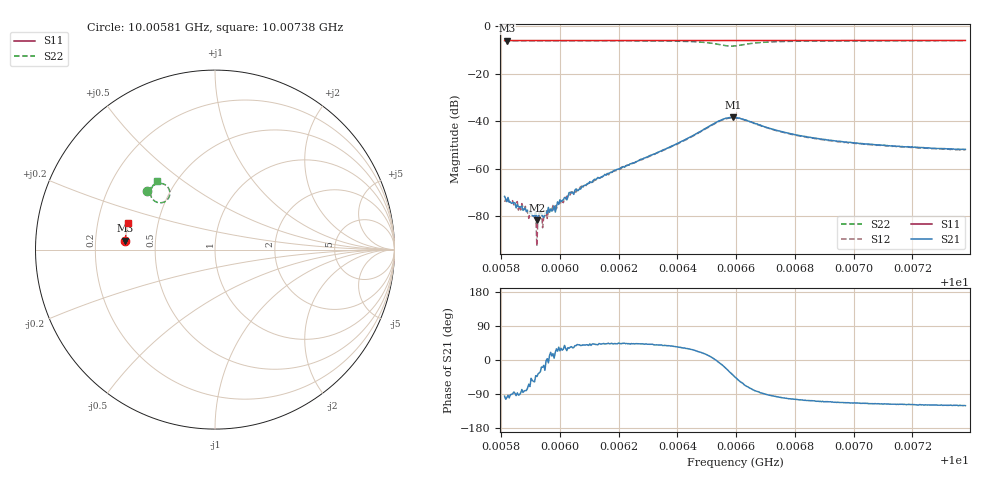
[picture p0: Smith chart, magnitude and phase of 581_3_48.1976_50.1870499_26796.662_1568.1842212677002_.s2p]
#  HZ  S  RI  R  50.00
! Rohde & Schwarz Vector Network Analyzer
! Rohde-Schwarz,ZNB20-2Port,1311601062101988,3.16
! Created: UTC 3/20/2024, 12:02:06 PM
! freq[Hz]  re:S11  im:S11  re:S21  im:S21  re:S12  im:S12  re:S22  im:S22
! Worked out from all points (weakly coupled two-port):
!   401 points, 10.00581 GHz to 10.00738 GHz, reference 50 ohm
!   highest |S21| = -38.30 dB at 10.00659 GHz (marker M1); lowest = -81.8 dB at 10.00592 GHz (marker M2)
!   lowest |S11| = -6.0 dB at 10.00582 GHz (marker M3), VSWR 3.02, Z = 16.6 + j2.19 ohm
!   |S11| at or under -10 dB: nowhere
!   |S22| runs from -8.3 to -6.0 dB; largest |S21 - S12| = 0.0009
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1.0005811e10  -0.4997 0.049  -2.46e-05 -0.000259  -1.91e-05 -0.000199  -0.3772 0.3246
1.0005819e10  -0.4996 0.0493  -3.06e-05 -0.000199  -5.55e-06 -0.000193  -0.3769 0.3251
1.0005847e10  -0.4996 0.0512  7.32e-06 -0.000189  2.71e-05 -0.000177  -0.3755 0.3268
1.0005905e10  -0.4993 0.055  6.18e-05 -8.35e-05  6.6e-05 -9.15e-05  -0.3725 0.3305
1.0005921e10  -0.4991 0.0559  5.9e-05 -5.63e-05  1.97e-05 -1.22e-05  -0.3715 0.3315
1.0005929e10  -0.4992 0.0566  9.57e-05 -6.47e-05  8.81e-05 -4.32e-05  -0.371 0.3321
1.0005949e10  -0.4991 0.0578  9.8e-05 -5.03e-05  9.29e-05 -5.85e-06  -0.3699 0.3333
1.000596e10  -0.499 0.0586  0.000151 -2.06e-05  0.000124 5.21e-06  -0.3693 0.334
1.000598e10  -0.4987 0.0599  0.000162 1.4e-05  0.000166 6.52e-05  -0.3681 0.3353
1.0006e10  -0.4988 0.0611  0.000201 9.07e-05  0.000189 6.69e-05  -0.3671 0.3365
1.0006035e10  -0.4986 0.0635  0.000262 0.000176  0.000227 0.000173  -0.3649 0.3389
1.0006074e10  -0.4982 0.0661  0.000322 0.000257  0.000311 0.000294  -0.3622 0.3415
1.0006121e10  -0.4978 0.0689  0.000445 0.000388  0.000422 0.000386  -0.3589 0.3449
1.0006337e10  -0.496 0.083  0.00175 0.00142  0.00166 0.0015  -0.3352 0.3623
1.0006439e10  -0.495 0.0897  0.00392 0.0022  0.0037 0.00233  -0.3085 0.3691
1.0006541e10  -0.4933 0.0961  0.0101 -0.00107  0.00985 -0.000489  -0.2537 0.3299
1.0006588e10  -0.4927 0.0985  0.00942 -0.00769  0.00951 -0.0069  -0.2728 0.2715
1.0006596e10  -0.4927 0.0987  0.00846 -0.00848  0.0086 -0.00784  -0.2824 0.2656
1.0006682e10  -0.4925 0.104  0.000469 -0.00833  0.000996 -0.00803  -0.3532 0.2898
1.0006859e10  -0.4907 0.1157  -0.00134 -0.0043  -0.00112 -0.00425  -0.3547 0.3394
1.0007122e10  -0.487 0.1324  -0.00136 -0.00272  -0.00119 -0.00273  -0.3389 0.3656
1.0007381e10  -0.483 0.1487  -0.00129 -0.0022  -0.00115 -0.00219  -0.3243 0.3817
